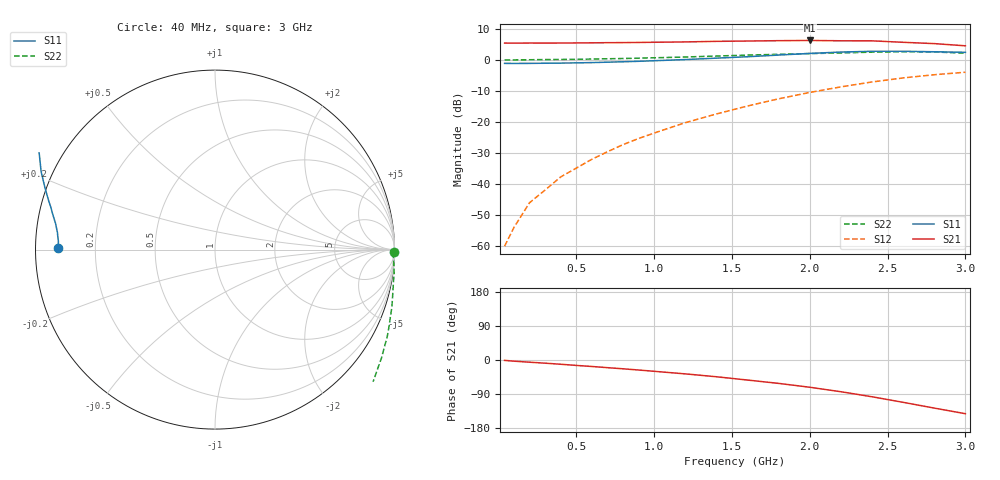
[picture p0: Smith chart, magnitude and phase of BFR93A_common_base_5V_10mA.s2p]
! Filename:  BFR93ACB.S2P  Version:  2.0
! Philips part #: BFR93A  Date: Jul 1990
! Bias condition: Vce=5V, Ic=10mA
! COMMON BASE
#  MHz  S  MA  R  50
! Freq  S11  S21  S12  S22
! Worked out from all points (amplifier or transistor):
!   21 points, 40 MHz to 3 GHz, reference 50 ohm
!   highest |S21| = 6.2 dB at 2 GHz (marker M1)
!   |S21| within 3 dB of that: start of sweep to end of sweep
!   unconditionally stable (mu >= 1): nowhere
!   at 300 MHz: K = -0.60, MSG = 23.7 dB, |S12| = -41.9 dB
!   at 1 GHz: K = -0.92, MSG = 14.6 dB, |S12| = -23.6 dB
!   at 3 GHz: K = -0.70, MSG = 4.2 dB, |S12| = -4.0 dB
40  0.874 179.4  1.856 -1.0  0.001 67.4  0.995 -0.9
100  0.873 178.2  1.853 -3.1  0.002 85.9  0.995 -2.7
200  0.874 176.8  1.857 -5.8  0.005 106.2  1 -4.9
300  0.879 175.2  1.856 -8.4  0.008 120.1  1.007 -7.5
400  0.883 173.8  1.857 -11.2  0.013 129.3  1.01 -10.1
500  0.891 172.3  1.865 -14.3  0.018 135.0  1.017 -12.8
600  0.9 170.7  1.872 -17.1  0.025 137.5  1.026 -15.5
700  0.914 169.0  1.882 -20.2  0.033 140.2  1.037 -18.2
800  0.928 167.4  1.888 -23.2  0.043 141.2  1.047 -21.1
900  0.944 165.6  1.898 -26.4  0.054 142.2  1.06 -23.8
1000  0.964 163.8  1.912 -29.8  0.066 142.0  1.075 -26.8
1200  1.007 160.1  1.936 -36.6  0.097 141.6  1.107 -33.1
1400  1.061 155.9  1.977 -44.2  0.134 139.1  1.148 -39.9
1600  1.118 151.2  2.001 -52.9  0.18 136.4  1.188 -47.2
1800  1.19 145.7  2.027 -61.7  0.235 131.6  1.224 -55.6
2000  1.264 139.6  2.044 -71.9  0.298 126.1  1.257 -65.0
2200  1.33 133.3  2.019 -83.7  0.366 119.5  1.287 -76.2
2400  1.368 125.6  2.015 -97.0  0.439 111.5  1.326 -88.1
2600  1.369 117.2  1.909 -111.7  0.51 103.2  1.345 -99.8
2800  1.344 107.4  1.818 -126.9  0.574 94.1  1.333 -111.5
3000  1.316 97.9  1.676 -141.7  0.63 86.4  1.277 -122.8
